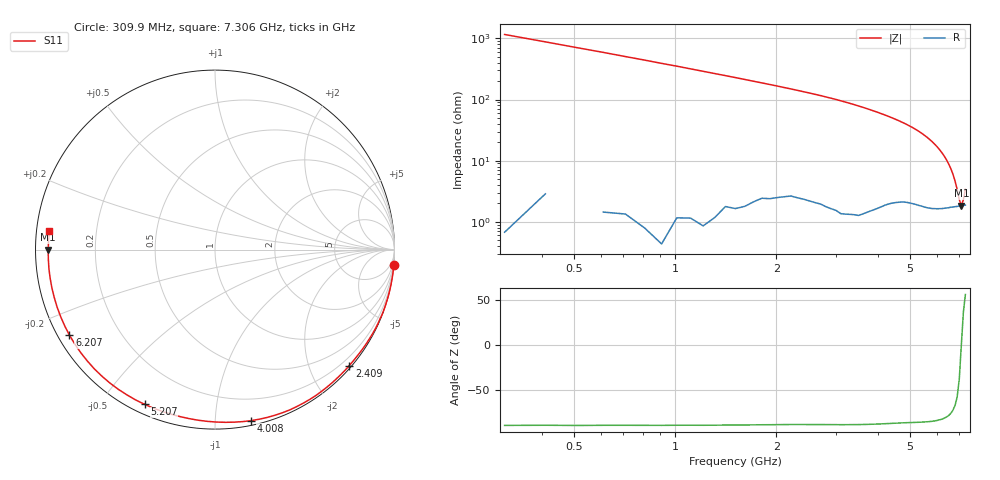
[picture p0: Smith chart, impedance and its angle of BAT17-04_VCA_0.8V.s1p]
! Infineon Technologies  Discrete & RF Semiconductors
! BAT17-04
! VCA = 0.8 V
! One-Port S-Parameters
# Hz  S  MA  R  50
!f  S11
!Hz  Mag  Ang
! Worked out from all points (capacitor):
!   71 points, 309.9 MHz to 7.306 GHz, reference 50 ohm
!   read as one part to ground: C = 441 fF near 309.9 MHz
!   lowest |Z| = 1.83 ohm at 7.106 GHz (marker M1)
!   series resonance near 7.106 GHz, so ESL is about 1.1 nH
!   S11 on the Smith chart (normalised r, x): 309.9 MHz: 0, -23; 2.409 GHz: 0.05, -2.68; 4.008 GHz: 0.03, -1.23; 5.207 GHz: 0.04, -0.64; 6.207 GHz: 0.03, -0.27; 7.306 GHz: 0.04, +0.06
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3.0985e8  1 -4.9
8.096e8  0.9996 -12.9
1.2094e9  0.999 -19.6
1.6092e9  0.9963 -26.4
2.10895e9  0.9906 -35.3
2.4088e9  0.9887 -40.9
2.70865e9  0.9879 -46.6
3.0085e9  0.9878 -53.0
3.2084e9  0.9877 -57.6
3.4083e9  0.9861 -62.4
3.6082e9  0.9836 -67.4
3.8081e9  0.9791 -72.7
4.008e9  0.9739 -78.1
4.2079e9  0.9673 -83.7
4.4078e9  0.9609 -89.5
4.70765e9  0.9528 -98.5
5.0075e9  0.9485 -107.9
5.2074e9  0.9472 -114.4
5.4073e9  0.9466 -121.2
5.6072e9  0.9464 -128.2
5.8071e9  0.9452 -135.3
5.90705e9  0.944 -138.9
6.10695e9  0.9418 -146.0
6.2069e9  0.9407 -149.6
6.50675e9  0.9362 -160.0
6.8066e9  0.9322 -170.2
7.10645e9  0.9294 180.0
7.30635e9  0.9279 173.6
